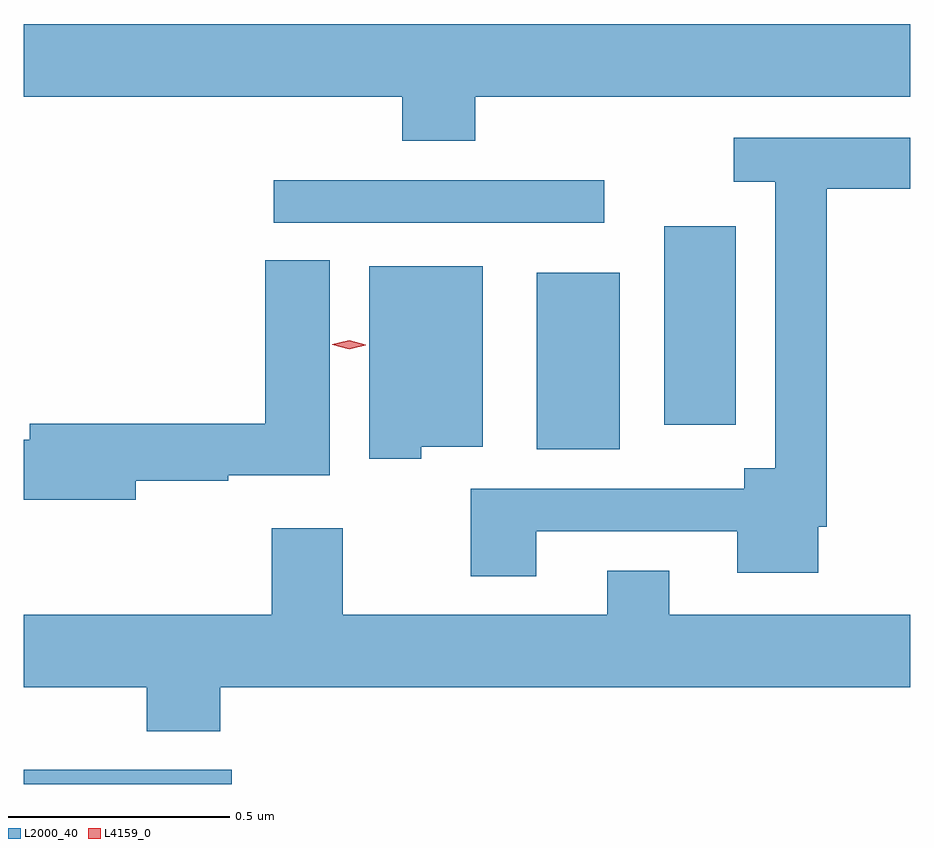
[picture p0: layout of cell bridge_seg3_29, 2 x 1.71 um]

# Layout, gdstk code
import gdstk
lib = gdstk.Library(unit=1e-6, precision=1e-09)
def R(c, l, rs):  # rectangles x0, y0, x1, y1
    for r in rs: c.add(gdstk.rectangle(r[:2], r[2:], *l))
def P(c, l, *ps):  # polygons
    for p in ps: c.add(gdstk.Polygon(p, *l))
L2000_40 = (2000, 40)
L4159_0 = (4159, 0)

bridge_seg3_29 = lib.new_cell('bridge_seg3_29')
R(bridge_seg3_29, L2000_40, [(693.831,695.37,694.301,695.402), (694.988,696.125,695.176,696.523), (695.276,696.18,695.437,696.628), (694.395,696.636,695.14,696.732)])
P(bridge_seg3_29, L2000_40, [(694.85,696.92),(695.831,696.92),(695.831,697.084),(693.831,697.084),(693.831,696.92),(694.685,696.92),(694.685,696.821),(694.85,696.821)],
  [(694.987,695.94),(695.441,695.94),(695.441,695.846),(695.623,695.846),(695.623,695.95),(695.642,695.95),(695.642,696.712),(695.831,696.712),(695.831,696.828),(695.433,696.828),(695.433,696.728),(695.526,696.728),(695.526,696.082),(695.456,696.082),(695.456,696.036),(694.84,696.036),(694.84,695.838),(694.987,695.838)],
  [(694.084,696.054),(694.292,696.054),(694.292,696.066),(694.522,696.066),(694.522,696.551),(694.376,696.551),(694.376,696.182),(693.845,696.182),(693.845,696.146),(693.831,696.146),(693.831,696.011),(694.084,696.011)],
  [(694.728,696.131),(694.867,696.131),(694.867,696.538),(694.61,696.538),(694.61,696.104),(694.728,696.104)],
  [(694.274,695.588),(695.831,695.588),(695.831,695.752),(695.287,695.752),(695.287,695.851),(695.147,695.851),(695.147,695.752),(694.551,695.752),(694.551,695.947),(694.391,695.947),(694.391,695.752),(693.831,695.752),(693.831,695.588),(694.109,695.588),(694.109,695.489),(694.274,695.489)])
P(bridge_seg3_29, L4159_0, [(694.565,696.351),(694.527,696.361),(694.527,696.362),(694.527,696.362),(694.565,696.371),(694.603,696.361),(694.603,696.36),(694.603,696.36)])

lib.write_gds('bridge_seg3_29.gds')
